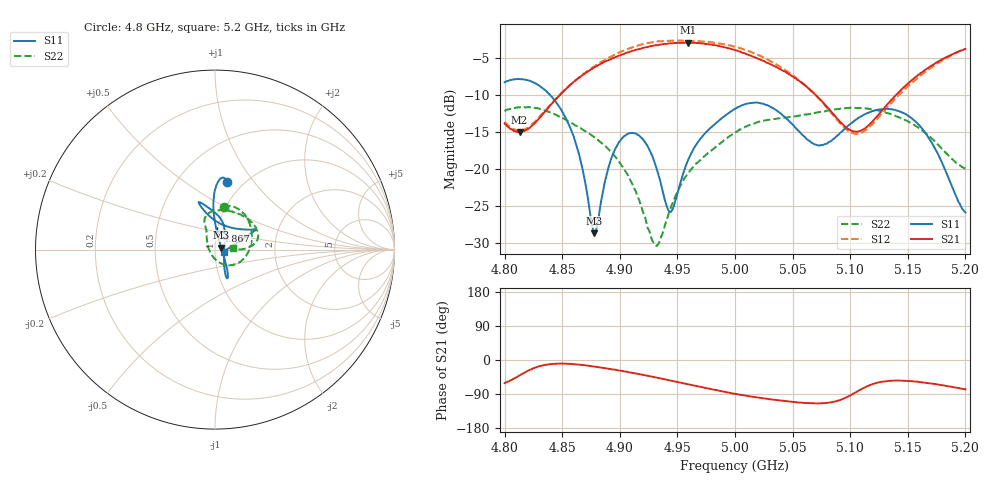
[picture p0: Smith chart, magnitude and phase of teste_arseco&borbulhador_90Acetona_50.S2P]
! Network Analyzer HP8722D
! Hewlett-Packard
! Data name: Linha & Wilkinson
! Saver's name: Rodrigo Anjos
! Comments: Teste da utilização de aquisição
! continua pelo VNA HP8722D
! Time and date: 17/4/2025 11:28
!  Frequency  S11  S21  S12  S22
# HZ  S  MA R 50
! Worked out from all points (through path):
!   401 points, 4.8 GHz to 5.2 GHz, reference 50 ohm
!   highest |S21| = -2.97 dB at 4.959 GHz (marker M1); lowest = -15.1 dB at 4.813 GHz (marker M2)
!   lowest |S11| = -28.7 dB at 4.878 GHz (marker M3), VSWR 1.08, Z = 53.6 + j1.22 ohm
!   |S11| at or under -10 dB: 4.839 GHz to end of sweep
!   |S22| runs from -30.4 to -11.6 dB; largest |S21 - S12| = 1.4
!   S11 on the Smith chart (normalised r, x): 4.8 GHz: 0.84, +0.75; 4.867 GHz: 1.00, +0.21; 5.2 GHz: 1.10, -0.03
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4.8e9  0.384 79.8  0.2025 -60.9  0.2071 74.1  0.2448 78.5
4.813e9  0.4034 83.8  0.1768 -40.7  0.1816 92.7  0.2596 67.4
4.845e9  0.2791 91.6  0.2971 -9.6  0.3 123.1  0.2313 28.2
4.858e9  0.1807 91.2  0.3743 -10.6  0.3749 124.2  0.2036 9.5
4.867e9  0.105 84.7  0.4257 -13.2  0.4277 123.4  0.1858 -4.2
4.878e9  0.0368 18.0  0.4841 -17.5  0.4926 121.2  0.1634 -20.9
4.892e9  0.1135 -55.8  0.5472 -23.9  0.5692 116.7  0.1311 -40.9
4.904e9  0.1666 -64.4  0.5971 -30.0  0.6284 111.7  0.09982 -57.8
4.92e9  0.1585 -67.8  0.6528 -39.2  0.6953 102.9  0.05135 -91.1
4.929e9  0.1174 -63.6  0.6756 -44.6  0.7161 97.4  0.03212 -135.4
4.934e9  0.08884 -55.7  0.6856 -47.8  0.7257 94.2  0.03159 -172.8
4.944e9  0.0511 -1.0  0.7038 -54.2  0.73 87.7  0.05409 141.5
4.959e9  0.1133 61.5  0.7104 -63.9  0.7302 78.2  0.09279 119.8
4.973e9  0.1703 78.3  0.698 -72.9  0.7208 69.2  0.1211 113.5
5e9  0.2541 103.1  0.6309 -89.4  0.668 51.6  0.1752 109.5
5.029e9  0.2668 108.9  0.5155 -103.1  0.5421 35.7  0.214 93.2
5.067e9  0.1496 80.8  0.3327 -114.3  0.3315 26.1  0.2359 59.5
5.081e9  0.1509 55.2  0.2562 -112.8  0.2521 29.4  0.2479 45.7
5.104e9  0.2121 31.7  0.1789 -86.8  0.1727 57.3  0.2579 26.5
5.134e9  0.2528 26.0  0.2815 -55.0  0.269 91.0  0.2361 11.3
5.164e9  0.1804 21.6  0.4588 -59.4  0.4434 88.4  0.1781 2.6
5.2e9  0.05088 -17.0  0.643 -77.6  0.6447 71.4  0.1005 4.6
